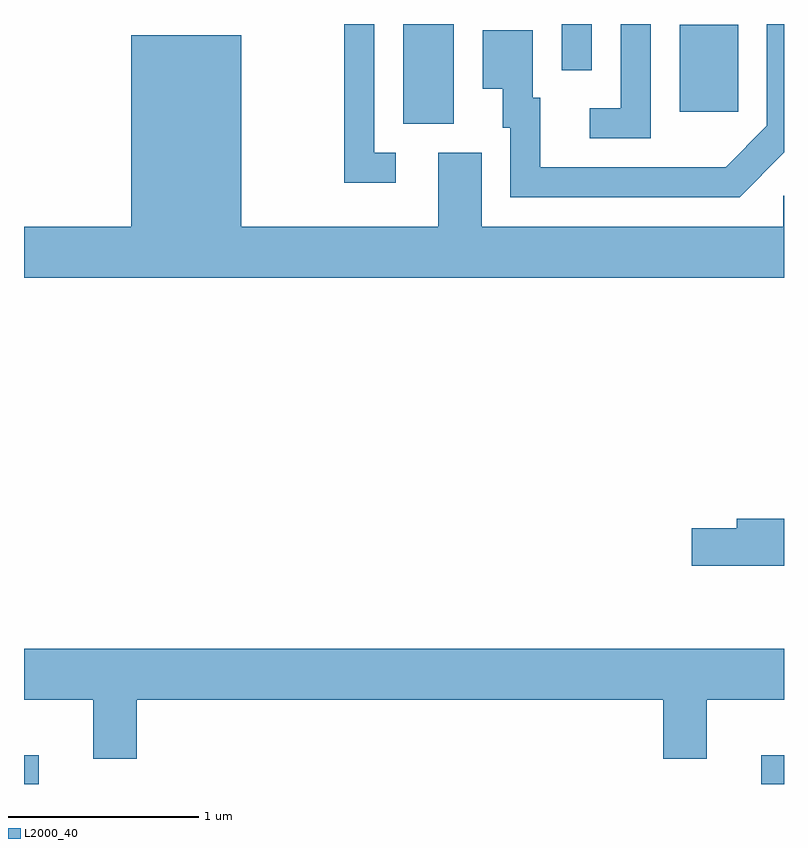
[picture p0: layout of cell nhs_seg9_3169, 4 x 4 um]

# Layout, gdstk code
import gdstk
lib = gdstk.Library(unit=1e-6, precision=1e-09)
def R(c, l, rs):  # rectangles x0, y0, x1, y1
    for r in rs: c.add(gdstk.rectangle(r[:2], r[2:], *l))
def P(c, l, *ps):  # polygons
    for p in ps: c.add(gdstk.Polygon(p, *l))
L2000_40 = (2000, 40)

nhs_seg9_3169 = lib.new_cell('nhs_seg9_3169')
R(nhs_seg9_3169, L2000_40, [(277.611,2042.432,277.689,2042.584), (281.491,2042.432,281.611,2042.584), (279.606,2045.906,279.874,2046.432), (281.061,2045.971,281.369,2046.429), (280.441,2046.188,280.599,2046.432)])
P(nhs_seg9_3169, L2000_40, [(279.568,2045.754),(279.454,2045.754),(279.454,2046.432),(279.296,2046.432),(279.296,2045.596),(279.568,2045.596)],
  [(281.611,2045.756),(281.611,2046.432),(281.521,2046.432),(281.521,2045.897),(281.304,2045.679),(280.329,2045.679),(280.329,2046.044),(280.289,2046.044),(280.289,2046.399),(280.026,2046.399),(280.026,2046.091),(280.131,2046.091),(280.131,2045.886),(280.171,2045.886),(280.171,2045.521),(281.377,2045.521)],
  [(280.909,2046.432),(280.751,2046.432),(280.751,2045.989),(280.588,2045.989),(280.588,2045.831),(280.909,2045.831)],
  [(281.611,2045.529),(281.606,2045.529),(281.606,2045.364),(280.019,2045.364),(280.019,2045.754),(279.791,2045.754),(279.791,2045.364),(278.754,2045.364),(278.754,2046.374),(278.176,2046.374),(278.176,2045.364),(277.611,2045.364),(277.611,2045.096),(281.611,2045.096)],
  [(281.611,2043.829),(281.361,2043.829),(281.361,2043.779),(281.126,2043.779),(281.126,2043.581),(281.611,2043.581)],
  [(278.204,2042.876),(280.976,2042.876),(280.976,2042.566),(281.204,2042.566),(281.204,2042.876),(281.611,2042.876),(281.611,2043.144),(277.611,2043.144),(277.611,2042.876),(277.976,2042.876),(277.976,2042.566),(278.204,2042.566)])

lib.write_gds('nhs_seg9_3169.gds')
